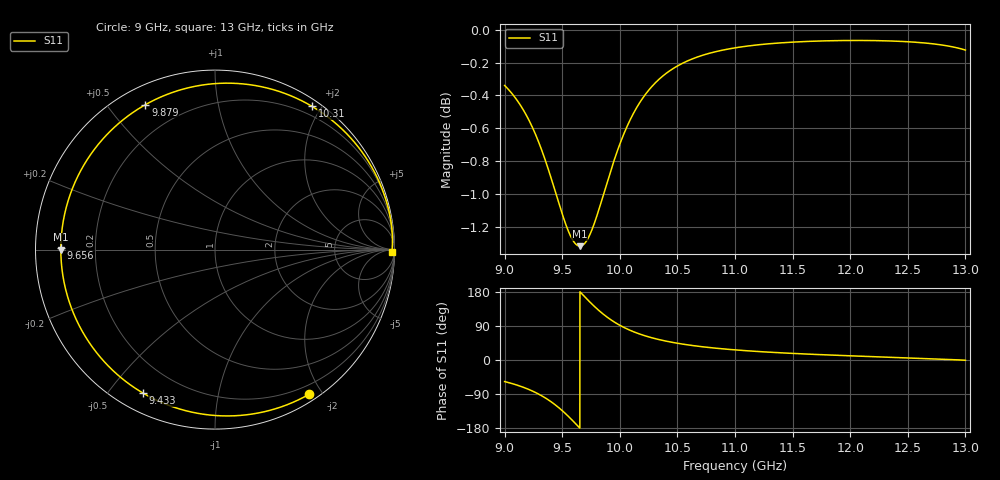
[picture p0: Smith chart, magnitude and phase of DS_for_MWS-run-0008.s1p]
! TOUCHSTONE file generated by CST DESIGN STUDIO
! Date and time: Tue Feb  4 18:10:23 2025
! Project name: C:\Work\MatlabApps\UnitCellOptimizationMatlab\CST\unitcell.cst
! Tree item: Tasks\Sweep1\SPara1\S-Parameters
! Header version: 2024
! Port assignment regex: !\s*Touchstone port\s*([0-9]+)\s*=\s*(CST MWS port|CST DES external port|CST DES block port)\s*(.+)\s* \(\"(.*)\"\)(\s*mode\s*([0-9]+))?.*
! Touchstone port assignment:
! Touchstone port 1 = CST DES external port 1 ("")
# GHz S MA R 50
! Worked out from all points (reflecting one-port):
!   4001 points, 9 GHz to 13 GHz, reference 50 ohm
!   lowest |S11| = -1.3 dB at 9.654 GHz (marker M1), VSWR 13.19, Z = 3.79 + j0.000353 ohm
!   phase of S11 starts at -57 deg and turns -304 deg over the sweep
!   S11 on the Smith chart (normalised r, x): 9 GHz: 0.09, -1.84; 9.433 GHz: 0.08, -0.61; 9.656 GHz: 0.08, +0.01; 9.879 GHz: 0.08, +0.63; 10.31 GHz: 0.08, +1.88; 13 GHz: open
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9  0.9617 -56.9
9.11  0.9516 -66.4
9.219  0.9374 -78.9
9.337  0.916 -97.1
9.387  0.905 -106.7
9.433  0.8943 -116.8
9.5  0.8788 -133.6
9.583  0.8638 -157.6
9.619  0.8602 -168.9
9.654  0.8591 180.0
9.656  0.8591 179.4
9.713  0.8624 161.3
9.776  0.8724 142.4
9.827  0.8834 128.4
9.879  0.8958 115.6
9.936  0.9092 103.4
10  0.9229 91.7
10.073  0.9361 80.6
10.148  0.9471 71.2
10.227  0.9562 63.1
10.313  0.9639 55.9
10.5  0.975 44.2
10.719  0.9824 34.9
11  0.9875 26.7
11.5  0.9915 17.4
12  0.9926 11.1
12.5  0.9917 5.7
13  0.986 -0.6
